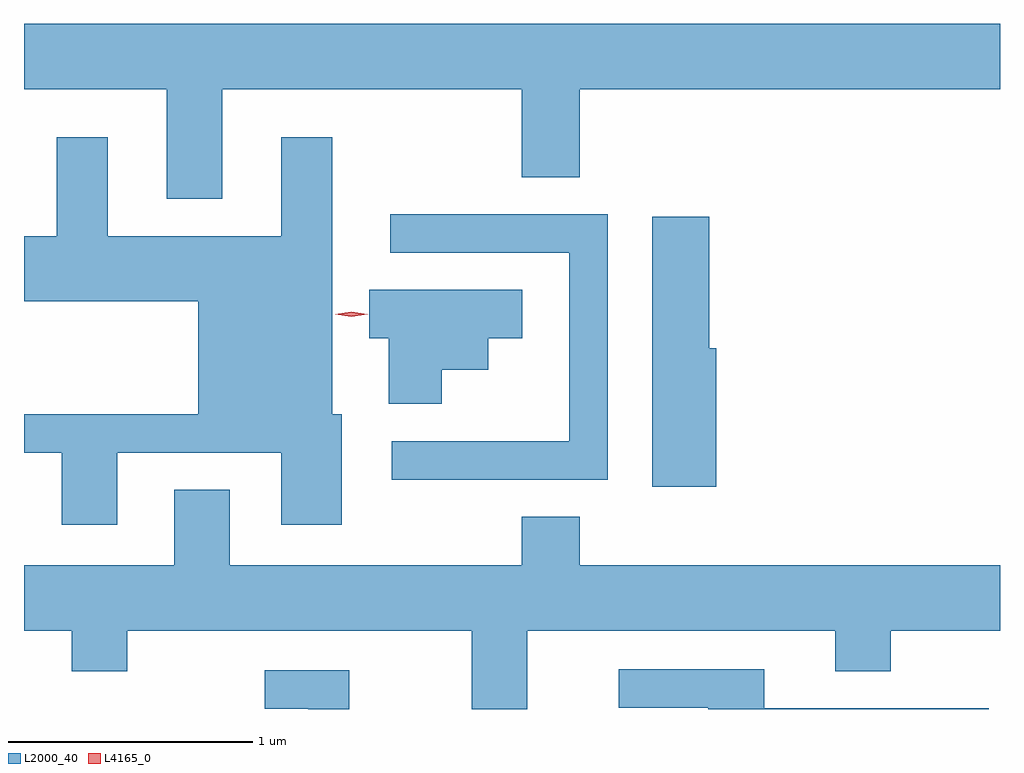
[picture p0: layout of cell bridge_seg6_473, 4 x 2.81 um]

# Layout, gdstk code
import gdstk
lib = gdstk.Library(unit=1e-6, precision=1e-09)
def P(c, l, *ps):  # polygons
    for p in ps: c.add(gdstk.Polygon(p, *l))
L2000_40 = (2000, 40)
L4165_0 = (4165, 0)

bridge_seg6_473 = lib.new_cell('bridge_seg6_473')
P(bridge_seg6_473, L2000_40, [(742.599,1576.676),(743.826,1576.676),(743.826,1576.316),(744.064,1576.316),(744.064,1576.676),(745.786,1576.676),(745.786,1576.944),(741.786,1576.944),(741.786,1576.676),(742.371,1576.676),(742.371,1576.226),(742.599,1576.226)],
  [(742.169,1575.186),(742.841,1575.186),(742.841,1574.891),(743.089,1574.891),(743.089,1575.344),(743.049,1575.344),(743.049,1576.479),(742.841,1576.479),(742.841,1576.074),(742.129,1576.074),(742.129,1576.479),(741.921,1576.479),(741.921,1576.074),(741.786,1576.074),(741.786,1575.806),(742.501,1575.806),(742.501,1575.344),(741.786,1575.344),(741.786,1575.186),(741.941,1575.186),(741.941,1574.891),(742.169,1574.891)],
  [(744.179,1576.164),(743.288,1576.164),(743.288,1576.006),(744.021,1576.006),(744.021,1575.234),(743.293,1575.234),(743.293,1575.076),(744.179,1575.076)],
  [(744.624,1575.614),(744.594,1575.614),(744.594,1576.154),(744.361,1576.154),(744.361,1575.046),(744.624,1575.046)],
  [(743.499,1575.526),(743.689,1575.526),(743.689,1575.656),(743.829,1575.656),(743.829,1575.854),(743.201,1575.854),(743.201,1575.656),(743.281,1575.656),(743.281,1575.386),(743.499,1575.386)],
  [(743.826,1574.724),(742.629,1574.724),(742.629,1575.034),(742.401,1575.034),(742.401,1574.724),(741.786,1574.724),(741.786,1574.456),(741.981,1574.456),(741.981,1574.291),(742.209,1574.291),(742.209,1574.456),(743.621,1574.456),(743.621,1574.135),(743.849,1574.135),(743.849,1574.456),(745.111,1574.456),(745.111,1574.291),(745.339,1574.291),(745.339,1574.456),(745.786,1574.456),(745.786,1574.724),(744.064,1574.724),(744.064,1574.924),(743.826,1574.924)],
  [(745.739,1574.139),(744.819,1574.139),(744.819,1574.299),(744.223,1574.299),(744.223,1574.141),(744.591,1574.141),(744.591,1574.135),(745.739,1574.135)],
  [(743.119,1574.294),(742.773,1574.294),(742.773,1574.136),(742.951,1574.136),(742.951,1574.135),(743.119,1574.135)])
P(bridge_seg6_473, L4165_0, [(743.128,1575.743),(743.062,1575.753),(743.061,1575.753),(743.062,1575.754),(743.128,1575.763),(743.194,1575.754),(743.195,1575.753),(743.194,1575.753)])

lib.write_gds('bridge_seg6_473.gds')
